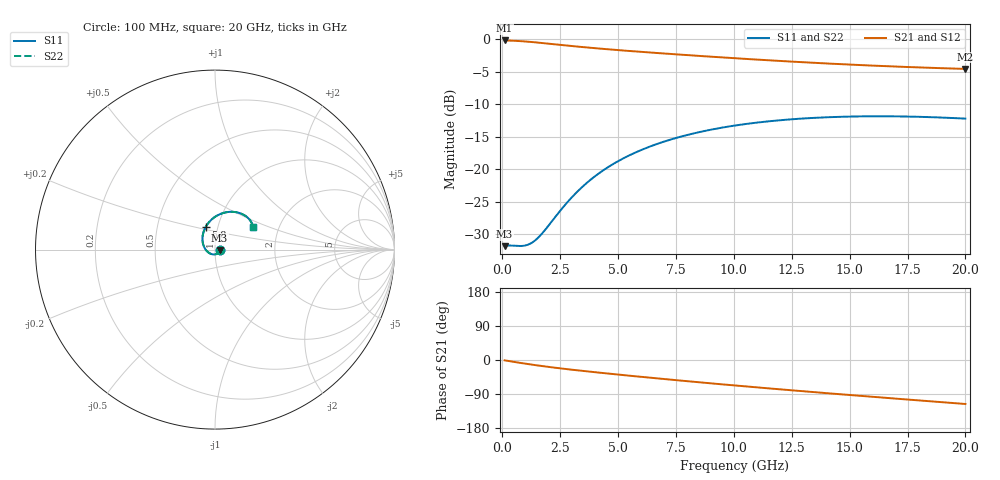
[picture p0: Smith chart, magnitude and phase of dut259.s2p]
! Created with skrf 1.9.0 (http://scikit-rf.org).
# GHz S RI R 50.0
!freq ReS11 ImS11 ReS21 ImS21 ReS12 ImS12 ReS22 ImS22
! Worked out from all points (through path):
!   200 points, 100 MHz to 20 GHz, reference 50 ohm
!   highest |S21| = -0.23 dB at 100 MHz (marker M1); lowest = -4.6 dB at 20 GHz (marker M2)
!   group delay of S21, straight-line fit = 15.4 ps
!   lowest |S11| = -31.8 dB at 100 MHz (marker M3), VSWR 1.05, Z = 52.6 - j0.437 ohm
!   |S11| at or under -10 dB: start of sweep to end of sweep
!   |S22| runs from -31.8 to -11.9 dB; largest |S21 - S12| = 2.6e-15
!   S11 on the Smith chart (normalised r, x): 100 MHz: 1.05, -0.01; 5.8 GHz: 0.87, +0.22; 20 GHz: 1.48, +0.39
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0.1  0.0253 -0.00416  0.9741 -0.0161  0.9741 -0.0161  0.0253 -0.00416
0.2  0.0251 -0.00685  0.9727 -0.0336  0.9727 -0.0336  0.0251 -0.00685
0.5  0.0209 -0.0153  0.9656 -0.0839  0.9656 -0.0839  0.0209 -0.0153
1  0.00671 -0.0251  0.9431 -0.1617  0.9431 -0.1617  0.00671 -0.0251
1.2  -0.000579 -0.0268  0.9312 -0.1902  0.9312 -0.1902  -0.000579 -0.0268
1.4  -0.00831 -0.027  0.9181 -0.2171  0.9181 -0.2171  -0.00831 -0.027
1.8  -0.024 -0.0233  0.8893 -0.266  0.8893 -0.266  -0.024 -0.0233
2.4  -0.0447 -0.00896  0.8432 -0.3285  0.8432 -0.3285  -0.0447 -0.00896
3  -0.0596 0.0123  0.7963 -0.381  0.7963 -0.381  -0.0596 0.0123
3.5  -0.0669 0.0327  0.7576 -0.4189  0.7576 -0.4189  -0.0669 0.0327
4  -0.0698 0.054  0.7193 -0.4527  0.7193 -0.4527  -0.0698 0.054
4.6  -0.0683 0.0793  0.6738 -0.4889  0.6738 -0.4889  -0.0683 0.0793
5.2  -0.0622 0.1032  0.6286 -0.5209  0.6286 -0.5209  -0.0622 0.1032
5.8  -0.0526 0.125  0.5835 -0.5491  0.5835 -0.5491  -0.0526 0.125
6.8  -0.0306 0.156  0.5088 -0.5882  0.5088 -0.5882  -0.0306 0.156
8.3  0.0103 0.1888  0.3986 -0.63  0.3986 -0.63  0.0103 0.1888
10.1  0.0627 0.208  0.2719 -0.6565  0.2719 -0.6565  0.0627 0.208
11.7  0.1061 0.2099  0.1665 -0.6623  0.1665 -0.6623  0.1061 0.2099
13.4  0.1451 0.2007  0.0631 -0.654  0.0631 -0.654  0.1451 0.2007
15  0.1736 0.185  -0.0261 -0.6355  -0.0261 -0.6355  0.1736 0.185
16.7  0.1948 0.1645  -0.1126 -0.6067  -0.1126 -0.6067  0.1948 0.1645
20  0.2113 0.1234  -0.2588 -0.5294  -0.2588 -0.5294  0.2113 0.1234
